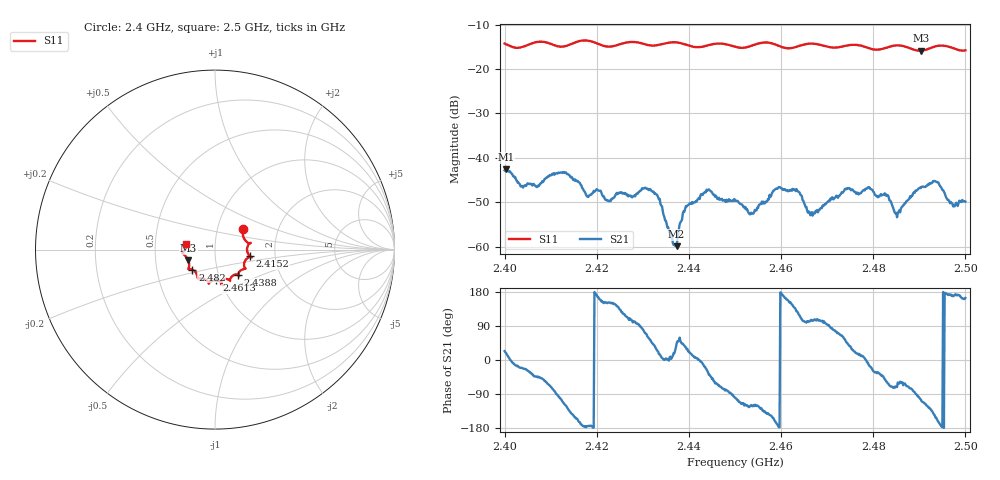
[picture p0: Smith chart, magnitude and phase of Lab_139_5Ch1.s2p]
# Hz S RI R 50
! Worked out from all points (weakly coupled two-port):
!   601 points, 2.4 GHz to 2.5 GHz, reference 50 ohm
!   highest |S21| = -42.62 dB at 2.4003 GHz (marker M1); lowest = -59.9 dB at 2.4373 GHz (marker M2)
!   lowest |S11| = -15.9 dB at 2.4903 GHz (marker M3), VSWR 1.38, Z = 36.8 - j4.44 ohm
!   |S11| at or under -10 dB: start of sweep to end of sweep
!   S12 and S22 are empty: the file has one direction only
!   S11 on the Smith chart (normalised r, x): 2.4 GHz: 1.33, +0.31; 2.4152 GHz: 1.48, -0.11; 2.4388 GHz: 1.24, -0.36; 2.4613 GHz: 0.96, -0.34; 2.482 GHz: 0.76, -0.17; 2.5 GHz: 0.72, +0.05
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2.4e9  0.1573 0.1122  0.00662 0.00287  0 0  0 0
2.400333e9  0.1565 0.108  0.00703 0.0023  0 0  0 0
2.403833e9  0.1696 0.0503  0.0045 -0.00175  0 0  0 0
2.415167e9  0.194 -0.0373  -0.00483 -0.00274  0 0  0 0
2.416667e9  0.2038 -0.0437  -0.00483 -0.000817  0 0  0 0
2.4225e9  0.1659 -0.0658  -0.00289 0.00155  0 0  0 0
2.433333e9  0.1324 -0.1315  0.00333 0.00134  0 0  0 0
2.437333e9  0.1348 -0.147  0.000738 0.000694  0 0  0 0
2.438833e9  0.1295 -0.1409  0.00192 0.00161  0 0  0 0
2.444e9  0.0851 -0.1632  0.00373 -0.00208  0 0  0 0
2.45e9  0.0686 -0.1646  -0.000555 -0.00332  0 0  0 0
2.4535e9  0.036 -0.1786  -0.00116 -0.00211  0 0  0 0
2.461333e9  0.00803 -0.1709  -0.00405 0.00154  0 0  0 0
2.466667e9  -0.0347 -0.1901  -0.000624 0.00236  0 0  0 0
2.474333e9  -0.0894 -0.1609  0.00321 0.00323  0 0  0 0
2.482e9  -0.1261 -0.1116  0.00287 -0.00251  0 0  0 0
2.483333e9  -0.1398 -0.1088  0.00164 -0.00326  0 0  0 0
2.485333e9  -0.1492 -0.1086  0.00122 -0.00204  0 0  0 0
2.490333e9  -0.1493 -0.0588  -0.00116 -0.00442  0 0  0 0
2.4935e9  -0.1784 -0.0239  -0.00479 -0.00257  0 0  0 0
2.497167e9  -0.1728 -0.00967  -0.00301 0.000503  0 0  0 0
2.5e9  -0.1589 0.0326  -0.00309 0.000904  0 0  0 0
